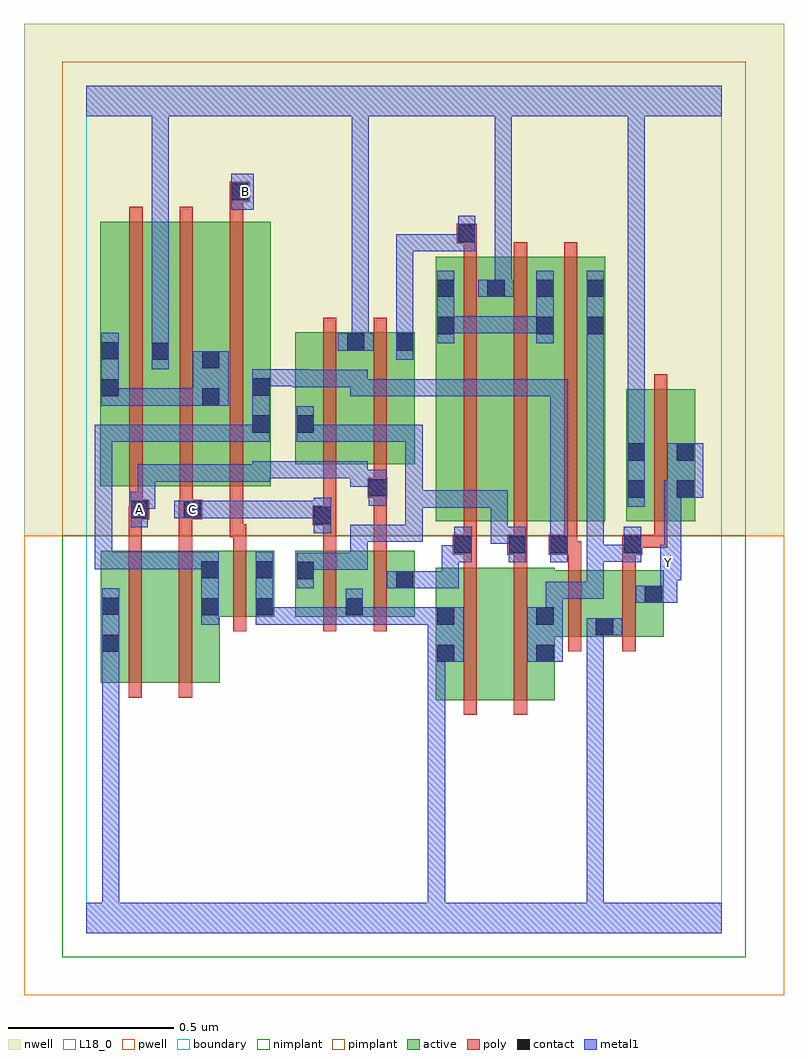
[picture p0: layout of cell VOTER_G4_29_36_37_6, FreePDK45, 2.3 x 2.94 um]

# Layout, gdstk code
import gdstk
lib = gdstk.Library(unit=1e-6, precision=1e-09)
def R(c, l, rs):  # rectangles x0, y0, x1, y1
    for r in rs: c.add(gdstk.rectangle(r[:2], r[2:], *l))
def A(c, l, x, y, w, h, nx, ny, dx, dy):  # array of equal rectangles
    R(c, l, [(x+i*dx, y+j*dy, x+i*dx+w, y+j*dy+h) for i in range(nx) for j in range(ny)])
active = (1, 0)
pwell = (2, 0)
nwell = (3, 0)
nimplant = (4, 0)
pimplant = (5, 0)
poly = (9, 0)
contact = (10, 0)
metal1 = (11, 0)
L18_0 = (18, 0)
boundary = (235, 0)

voter_g4_29_36_37_6 = lib.new_cell('VOTER_G4_29_36_37_6')
A(voter_g4_29_36_37_6, active, 0.042, 1.35, 0.212, 0.8, 3, 1, 0.152, 0)
R(voter_g4_29_36_37_6, active, [(1.056,0.704,1.236,1.104), (1.056,0.704,1.116,1.104), (1.236,0.704,1.416,1.104), (0.044,0.756,0.224,1.156), (0.044,0.756,0.104,1.156), (0.224,0.756,0.404,1.156), (0.344,0.756,0.404,1.156), (1.356,0.816,1.416,1.096), (1.356,0.896,1.596,1.096), (1.536,0.896,1.744,1.096), (1.536,0.896,1.596,0.956), (1.684,0.896,1.744,1.096), (0.344,0.956,0.568,1.156), (0.508,0.956,0.568,1.156), (0.632,0.956,0.692,1.156), (0.632,0.956,0.84,1.156), (0.78,0.956,0.84,1.016), (0.78,0.956,0.992,1.156), (0.932,0.956,0.992,1.156), (1.056,1.244,1.116,2.044), (1.056,1.244,1.268,2.044), (1.208,1.244,1.416,2.044), (1.356,1.244,1.568,2.044), (1.508,1.244,1.568,2.044), (1.632,1.244,1.692,1.644), (1.632,1.244,1.84,1.644), (1.78,1.244,1.84,1.644), (0.042,1.35,0.102,2.044), (0.498,1.35,0.558,2.044), (0.632,1.416,0.844,1.816), (0.632,1.416,0.692,1.644), (0.784,1.416,0.992,1.816), (0.932,1.416,0.992,1.816), (0.346,1.5,0.406,2.15), (0.784,1.508,0.844,1.816), (1.208,1.628,1.268,2.044), (0.194,1.686,0.254,2.044), (1.356,1.686,1.416,2.044)])
R(voter_g4_29_36_37_6, pwell, [(-0.188,-0.188,2.108,1.2)])
R(voter_g4_29_36_37_6, nwell, [(-0.188,1.2,2.108,2.748)])
R(voter_g4_29_36_37_6, nimplant, [(-0.072,-0.072,1.992,1.2)])
R(voter_g4_29_36_37_6, pimplant, [(-0.072,1.2,1.992,2.632)])
A(voter_g4_29_36_37_6, poly, 1.14, 1.164, 0.04, 0.076, 3, 1, 0.152, 0)
A(voter_g4_29_36_37_6, poly, 1.14, 1.2, 0.04, 0.888, 3, 1, 0.152, 0)
A(voter_g4_29_36_37_6, poly, 0.13, 1.306, 0.04, 0.888, 3, 1, 0.152, 0)
R(voter_g4_29_36_37_6, poly, [(1.14,0.66,1.18,1.148), (1.292,0.66,1.332,1.148), (0.128,0.712,0.168,1.2), (0.28,0.712,0.32,1.2), (1.456,0.852,1.496,1.14), (1.62,0.852,1.66,1.14), (0.444,0.912,0.484,1.2), (0.716,0.912,0.756,1.2), (0.868,0.912,0.908,1.2), (1.456,1.1,1.496,1.184), (1.62,1.1,1.66,1.184), (1.14,1.108,1.18,1.184), (1.292,1.108,1.332,1.184), (1.108,1.144,1.18,1.204), (1.272,1.144,1.332,1.204), (1.292,1.144,1.332,1.184), (1.292,1.144,1.332,1.184), (1.398,1.144,1.484,1.204), (1.444,1.144,1.484,1.184), (1.444,1.144,1.496,1.184), (1.62,1.144,1.68,1.204), (0.128,1.16,0.168,1.29), (0.28,1.16,0.32,1.29), (0.444,1.16,0.484,1.236), (0.716,1.16,0.756,1.272), (0.868,1.16,0.908,1.356), (1.14,1.164,1.18,1.204), (1.14,1.164,1.18,1.204), (1.64,1.164,1.68,1.204), (1.64,1.164,1.756,1.204), (1.716,1.164,1.756,1.24), (0.434,1.196,0.474,1.346), (0.434,1.196,0.484,1.236), (0.444,1.196,0.484,1.236), (0.444,1.196,0.484,1.236), (1.716,1.2,1.756,1.688), (0.684,1.232,0.756,1.292), (0.128,1.25,0.17,1.29), (0.13,1.25,0.17,1.29), (0.13,1.25,0.19,1.31), (0.28,1.25,0.35,1.31), (0.716,1.252,0.756,1.292), (0.716,1.252,0.756,1.292), (0.716,1.252,0.756,1.412), (0.13,1.27,0.17,1.346), (0.282,1.27,0.322,1.346), (0.282,1.27,0.322,1.31), (0.282,1.27,0.322,1.31), (0.85,1.316,0.91,1.376), (0.868,1.316,0.908,1.356), (0.868,1.316,0.908,1.356), (0.868,1.336,0.908,1.412), (0.716,1.372,0.756,1.86), (0.868,1.372,0.908,1.86), (1.14,2.048,1.18,2.124), (1.12,2.084,1.18,2.144), (0.434,2.154,0.474,2.25), (0.434,2.21,0.494,2.27)])
R(voter_g4_29_36_37_6, contact, [(1.06,0.82,1.112,0.872), (1.36,0.82,1.412,0.872), (0.048,0.85,0.1,0.902), (1.54,0.9,1.592,0.952), (1.06,0.932,1.112,0.984), (1.36,0.932,1.412,0.984), (0.348,0.96,0.4,1.012), (0.512,0.96,0.564,1.012), (0.784,0.96,0.836,1.012), (0.048,0.962,0.1,1.014), (1.688,0.998,1.74,1.05), (0.936,1.042,0.988,1.094), (0.636,1.07,0.688,1.122), (0.348,1.072,0.4,1.124), (0.512,1.072,0.564,1.124), (1.112,1.148,1.164,1.2), (1.276,1.148,1.328,1.2), (1.402,1.148,1.454,1.2), (1.624,1.148,1.676,1.2), (0.688,1.236,0.74,1.288), (0.134,1.254,0.186,1.306), (0.294,1.254,0.346,1.306), (1.636,1.316,1.688,1.368), (1.784,1.316,1.836,1.368), (0.854,1.32,0.906,1.372), (1.636,1.428,1.688,1.48), (1.784,1.428,1.836,1.48), (0.502,1.512,0.554,1.564), (0.636,1.512,0.688,1.564), (0.35,1.594,0.402,1.646), (0.046,1.622,0.098,1.674), (0.502,1.624,0.554,1.676), (0.35,1.706,0.402,1.758), (0.198,1.732,0.25,1.784), (0.046,1.734,0.098,1.786), (0.788,1.76,0.84,1.812), (0.936,1.76,0.988,1.812), (1.06,1.81,1.112,1.862), (1.36,1.81,1.412,1.862), (1.512,1.81,1.564,1.862), (1.06,1.922,1.112,1.974), (1.212,1.922,1.264,1.974), (1.36,1.922,1.412,1.974), (1.512,1.922,1.564,1.974), (1.124,2.088,1.176,2.14), (0.438,2.214,0.49,2.266)])
R(voter_g4_29_36_37_6, metal1, [(0,0,1.92,0.092), (0.048,0.04,0.1,0.092), (0.048,0.04,0.1,0.092), (0.048,0.04,0.1,0.092), (0.048,0.04,0.1,0.092), (0.048,0.04,0.1,0.092), (0.048,0.04,0.1,0.092), (0.048,0.04,0.1,0.092), (0.048,0.04,0.1,0.092), (0.048,0.04,0.1,0.874), (1.032,0.04,1.084,0.092), (1.032,0.04,1.084,0.092), (1.032,0.04,1.084,0.092), (1.032,0.04,1.084,0.092), (1.032,0.04,1.084,0.092), (1.032,0.04,1.084,0.092), (1.032,0.04,1.084,0.092), (1.032,0.04,1.084,0.092), (1.032,0.04,1.084,0.092), (1.032,0.04,1.084,0.092), (1.032,0.04,1.084,0.092), (1.032,0.04,1.084,0.092), (1.032,0.04,1.084,0.872), (1.512,0.04,1.564,0.092), (1.512,0.04,1.564,0.092), (1.512,0.04,1.564,0.092), (1.512,0.04,1.564,0.092), (1.512,0.04,1.564,0.092), (1.512,0.04,1.564,0.092), (1.512,0.04,1.564,0.092), (1.512,0.04,1.564,0.092), (1.512,0.04,1.564,0.092), (1.512,0.04,1.564,0.092), (1.512,0.04,1.564,0.092), (1.512,0.04,1.564,0.092), (1.512,0.04,1.564,0.092), (1.512,0.04,1.564,0.092), (1.512,0.04,1.564,0.092), (1.512,0.04,1.564,0.092), (1.512,0.04,1.564,0.952), (1.032,0.82,1.14,0.984), (1.332,0.82,1.44,0.984), (0.048,0.822,0.1,0.874), (0.048,0.822,0.1,0.874), (0.048,0.822,0.1,0.874), (0.048,0.822,0.1,0.874), (0.048,0.822,0.1,1.042), (1.512,0.9,1.62,0.952), (0.348,0.932,0.4,1.152), (0.512,0.932,0.564,1.152), (0.512,0.932,0.674,0.984), (0.622,0.932,0.674,0.984), (0.622,0.932,0.674,0.984), (0.622,0.932,0.674,0.984), (0.622,0.932,0.836,0.984), (0.784,0.932,0.836,1.04), (0.784,0.932,0.974,0.984), (0.922,0.932,0.974,0.984), (0.922,0.932,0.974,0.984), (0.922,0.932,0.974,0.984), (0.922,0.932,0.974,0.984), (0.922,0.932,0.974,0.984), (0.922,0.932,0.974,0.984), (0.922,0.932,0.974,0.984), (0.922,0.932,1.084,0.984), (1.388,0.932,1.44,1.062), (1.66,0.998,1.786,1.05), (1.734,0.998,1.786,1.118), (1.388,1.01,1.442,1.062), (1.39,1.01,1.442,1.062), (1.39,1.01,1.442,1.062), (1.39,1.01,1.564,1.062), (1.512,1.01,1.564,1.174), (0.636,1.042,0.688,1.15), (0.908,1.042,1.016,1.094), (0.964,1.042,1.126,1.094), (1.074,1.042,1.126,1.094), (1.074,1.042,1.126,1.172), (1.734,1.066,1.798,1.174), (0.636,1.098,0.688,1.15), (0.636,1.098,0.688,1.15), (0.636,1.098,0.85,1.15), (0.798,1.098,0.85,1.15), (0.798,1.098,0.85,1.234), (0.026,1.1,0.078,1.152), (0.026,1.1,0.078,1.152), (0.026,1.1,0.078,1.152), (0.026,1.1,0.078,1.152), (0.026,1.1,0.078,1.152), (0.026,1.1,0.208,1.152), (0.026,1.1,0.078,1.536), (0.156,1.1,0.208,1.152), (0.156,1.1,0.296,1.152), (0.244,1.1,0.296,1.152), (0.244,1.1,0.4,1.152), (1.074,1.12,1.126,1.172), (1.074,1.12,1.164,1.172), (1.112,1.12,1.164,1.228), (1.276,1.12,1.328,1.228), (1.402,1.12,1.454,1.228), (1.624,1.12,1.676,1.228), (1.512,1.122,1.564,1.174), (1.512,1.122,1.564,1.174), (1.512,1.122,1.564,1.174), (1.512,1.122,1.564,1.174), (1.512,1.122,1.676,1.174), (1.512,1.122,1.564,1.834), (1.746,1.122,1.798,1.368), (1.222,1.176,1.328,1.228), (1.222,1.176,1.274,1.338), (1.402,1.176,1.454,1.228), (1.402,1.176,1.454,1.228), (1.402,1.176,1.454,1.674), (0.798,1.182,0.85,1.234), (0.798,1.182,0.85,1.234), (0.798,1.182,0.85,1.234), (0.798,1.182,1.016,1.234), (0.964,1.182,1.016,1.234), (0.964,1.182,1.016,1.338), (0.688,1.208,0.74,1.316), (0.134,1.226,0.186,1.334), (0.266,1.254,0.374,1.306), (0.322,1.254,0.374,1.306), (0.322,1.254,0.374,1.306), (0.322,1.254,0.554,1.306), (0.502,1.254,0.554,1.306), (0.502,1.254,0.554,1.306), (0.502,1.254,0.554,1.306), (0.502,1.254,0.664,1.306), (0.612,1.254,0.664,1.306), (0.612,1.254,0.74,1.306), (0.134,1.282,0.208,1.334), (0.156,1.282,0.208,1.416), (0.964,1.286,1.016,1.338), (0.964,1.286,1.126,1.338), (0.964,1.286,1.016,1.536), (1.074,1.286,1.126,1.338), (1.074,1.286,1.126,1.338), (1.074,1.286,1.126,1.338), (1.074,1.286,1.274,1.338), (1.636,1.288,1.688,1.508), (0.854,1.292,0.906,1.4), (1.746,1.316,1.808,1.368), (1.756,1.316,1.808,1.368), (1.756,1.316,1.864,1.48), (0.798,1.348,0.906,1.4), (0.798,1.348,0.85,1.426), (0.156,1.364,0.36,1.416), (0.308,1.364,0.36,1.416), (0.308,1.364,0.36,1.416), (0.308,1.364,0.36,1.416), (0.308,1.364,0.554,1.416), (0.502,1.364,0.554,1.426), (0.502,1.374,0.554,1.426), (0.502,1.374,0.554,1.426), (0.502,1.374,0.674,1.426), (0.622,1.374,0.674,1.426), (0.622,1.374,0.674,1.426), (0.622,1.374,0.674,1.426), (0.622,1.374,0.85,1.426), (1.636,1.456,1.688,1.508), (1.636,1.456,1.688,1.508), (1.636,1.456,1.688,1.508), (1.636,1.456,1.688,1.508), (1.636,1.456,1.688,2.52), (0.026,1.484,0.078,1.536), (0.026,1.484,0.078,1.536), (0.026,1.484,0.078,1.536), (0.026,1.484,0.078,1.536), (0.026,1.484,0.078,1.536), (0.026,1.484,0.25,1.536), (0.198,1.484,0.25,1.536), (0.198,1.484,0.36,1.536), (0.308,1.484,0.36,1.536), (0.308,1.484,0.36,1.536), (0.308,1.484,0.36,1.536), (0.308,1.484,0.554,1.536), (0.502,1.484,0.554,1.536), (0.502,1.484,0.554,1.536), (0.502,1.484,0.554,1.704), (0.636,1.484,0.688,1.536), (0.636,1.484,0.688,1.536), (0.636,1.484,0.688,1.592), (0.636,1.484,0.85,1.536), (0.798,1.484,0.85,1.536), (0.798,1.484,0.85,1.536), (0.798,1.484,0.85,1.536), (0.798,1.484,1.016,1.536), (0.964,1.484,1.016,1.536), (0.046,1.594,0.098,1.646), (0.046,1.594,0.098,1.646), (0.046,1.594,0.098,1.814), (0.046,1.594,0.208,1.646), (0.156,1.594,0.208,1.646), (0.156,1.594,0.374,1.646), (0.322,1.594,0.374,1.646), (0.322,1.594,0.374,1.646), (0.322,1.594,0.43,1.758), (0.798,1.622,0.96,1.674), (0.798,1.622,0.85,1.702), (0.908,1.622,0.96,1.674), (0.908,1.622,0.96,1.674), (0.908,1.622,0.96,1.674), (0.908,1.622,1.126,1.674), (1.074,1.622,1.126,1.674), (1.074,1.622,1.126,1.674), (1.074,1.622,1.126,1.674), (1.074,1.622,1.126,1.674), (1.074,1.622,1.126,1.674), (1.074,1.622,1.236,1.674), (1.184,1.622,1.236,1.674), (1.184,1.622,1.332,1.674), (1.28,1.622,1.332,1.674), (1.28,1.622,1.454,1.674), (1.402,1.622,1.454,1.674), (0.622,1.65,0.85,1.702), (0.622,1.65,0.674,1.704), (0.502,1.652,0.554,1.704), (0.502,1.652,0.554,1.704), (0.502,1.652,0.674,1.704), (0.622,1.652,0.674,1.704), (0.622,1.652,0.674,1.704), (0.198,1.704,0.25,1.812), (0.936,1.732,0.988,1.84), (0.198,1.76,0.25,1.812), (0.198,1.76,0.25,1.812), (0.198,1.76,0.25,1.812), (0.198,1.76,0.25,1.812), (0.198,1.76,0.25,1.812), (0.198,1.76,0.25,1.812), (0.198,1.76,0.25,1.812), (0.198,1.76,0.25,1.812), (0.198,1.76,0.25,2.52), (0.76,1.76,0.868,1.812), (0.802,1.76,0.854,1.812), (0.802,1.76,0.854,1.812), (0.802,1.76,0.854,1.812), (0.802,1.76,0.854,1.812), (0.802,1.76,0.854,2.52), (1.06,1.782,1.112,2.002), (1.36,1.782,1.412,2.002), (1.512,1.782,1.564,2.002), (0.936,1.788,0.988,1.84), (0.936,1.788,0.988,1.84), (0.936,1.788,0.988,1.84), (0.936,1.788,0.988,1.84), (0.936,1.788,0.988,1.84), (0.936,1.788,0.988,1.84), (0.936,1.788,0.988,1.84), (0.936,1.788,0.988,1.84), (0.936,1.788,0.988,2.112), (1.06,1.812,1.218,1.864), (1.166,1.812,1.218,1.864), (1.166,1.812,1.24,1.864), (1.188,1.812,1.24,1.864), (1.188,1.812,1.332,1.864), (1.28,1.812,1.332,1.864), (1.28,1.812,1.412,1.864), (1.184,1.922,1.292,1.974), (1.234,1.922,1.286,1.974), (1.234,1.922,1.286,1.974), (1.234,1.922,1.286,2.52), (0.936,2.06,0.988,2.112), (0.936,2.06,1.084,2.112), (1.032,2.06,1.084,2.112), (1.032,2.06,1.176,2.112), (1.124,2.06,1.176,2.168), (0.438,2.186,0.506,2.294), (0,2.468,1.92,2.56), (0.802,2.468,0.854,2.52), (0.802,2.468,0.854,2.52), (0.802,2.468,0.854,2.52), (0.802,2.468,0.854,2.52), (0.802,2.468,0.854,2.52), (0.802,2.468,0.854,2.52), (0.802,2.468,0.854,2.52), (0.802,2.468,0.854,2.52), (0.802,2.468,0.854,2.52), (0.802,2.468,0.854,2.52), (0.802,2.468,0.854,2.52), (0.802,2.468,0.854,2.52), (1.234,2.468,1.286,2.52), (1.234,2.468,1.286,2.52), (1.234,2.468,1.286,2.52), (1.234,2.468,1.286,2.52), (1.234,2.468,1.286,2.52), (1.234,2.468,1.286,2.52), (1.636,2.468,1.688,2.52), (1.636,2.468,1.688,2.52), (1.636,2.468,1.688,2.52), (1.636,2.468,1.688,2.52), (1.636,2.468,1.688,2.52), (1.636,2.468,1.688,2.52), (1.636,2.468,1.688,2.52), (1.636,2.468,1.688,2.52), (1.636,2.468,1.688,2.52), (1.636,2.468,1.688,2.52), (1.636,2.468,1.688,2.52), (1.636,2.468,1.688,2.52)])
R(voter_g4_29_36_37_6, L18_0, [(0,0,1.92,0.092), (0.048,0.04,0.1,0.092), (0.048,0.04,0.1,0.092), (0.048,0.04,0.1,0.092), (0.048,0.04,0.1,0.092), (0.048,0.04,0.1,0.092), (0.048,0.04,0.1,0.092), (0.048,0.04,0.1,0.092), (0.048,0.04,0.1,0.092), (0.048,0.04,0.1,0.874), (1.032,0.04,1.084,0.092), (1.032,0.04,1.084,0.092), (1.032,0.04,1.084,0.092), (1.032,0.04,1.084,0.092), (1.032,0.04,1.084,0.092), (1.032,0.04,1.084,0.092), (1.032,0.04,1.084,0.092), (1.032,0.04,1.084,0.092), (1.032,0.04,1.084,0.092), (1.032,0.04,1.084,0.092), (1.032,0.04,1.084,0.092), (1.032,0.04,1.084,0.092), (1.032,0.04,1.084,0.872), (1.512,0.04,1.564,0.092), (1.512,0.04,1.564,0.092), (1.512,0.04,1.564,0.092), (1.512,0.04,1.564,0.092), (1.512,0.04,1.564,0.092), (1.512,0.04,1.564,0.092), (1.512,0.04,1.564,0.092), (1.512,0.04,1.564,0.092), (1.512,0.04,1.564,0.092), (1.512,0.04,1.564,0.092), (1.512,0.04,1.564,0.092), (1.512,0.04,1.564,0.092), (1.512,0.04,1.564,0.092), (1.512,0.04,1.564,0.092), (1.512,0.04,1.564,0.092), (1.512,0.04,1.564,0.092), (1.512,0.04,1.564,0.952), (1.032,0.82,1.14,0.984), (0.048,0.822,0.1,0.874), (0.048,0.822,0.1,0.874), (0.048,0.822,0.1,0.874), (0.048,0.822,0.1,0.874), (0.048,0.822,0.1,1.042), (1.512,0.9,1.62,0.952), (0.512,0.932,0.564,1.152), (0.512,0.932,0.674,0.984), (0.622,0.932,0.674,0.984), (0.622,0.932,0.674,0.984), (0.622,0.932,0.674,0.984), (0.622,0.932,0.836,0.984), (0.784,0.932,0.836,1.04), (0.784,0.932,0.974,0.984), (0.922,0.932,0.974,0.984), (0.922,0.932,0.974,0.984), (0.922,0.932,0.974,0.984), (0.922,0.932,0.974,0.984), (0.922,0.932,0.974,0.984), (0.922,0.932,0.974,0.984), (0.922,0.932,0.974,0.984), (0.922,0.932,1.084,0.984), (1.66,0.998,1.786,1.05), (1.734,0.998,1.786,1.118), (1.734,1.066,1.798,1.174), (1.734,1.094,1.786,1.146), (1.746,1.122,1.798,1.368), (0.688,1.208,0.74,1.316), (0.134,1.226,0.186,1.334), (0.134,1.254,0.186,1.306), (0.266,1.254,0.374,1.306), (0.294,1.254,0.346,1.306), (0.322,1.254,0.374,1.306), (0.322,1.254,0.374,1.306), (0.322,1.254,0.554,1.306), (0.502,1.254,0.554,1.306), (0.502,1.254,0.554,1.306), (0.502,1.254,0.554,1.306), (0.502,1.254,0.664,1.306), (0.612,1.254,0.664,1.306), (0.612,1.254,0.74,1.306), (0.134,1.282,0.208,1.334), (0.156,1.282,0.208,1.416), (1.636,1.288,1.688,1.508), (0.854,1.292,0.906,1.4), (1.746,1.316,1.808,1.368), (1.756,1.316,1.808,1.368), (1.756,1.316,1.864,1.48), (0.798,1.348,0.906,1.4), (0.798,1.348,0.85,1.426), (0.156,1.364,0.36,1.416), (0.308,1.364,0.36,1.416), (0.308,1.364,0.36,1.416), (0.308,1.364,0.36,1.416), (0.308,1.364,0.554,1.416), (0.502,1.364,0.554,1.426), (0.502,1.374,0.554,1.426), (0.502,1.374,0.554,1.426), (0.502,1.374,0.674,1.426), (0.622,1.374,0.674,1.426), (0.622,1.374,0.674,1.426), (0.622,1.374,0.674,1.426), (0.622,1.374,0.85,1.426), (1.636,1.456,1.688,1.508), (1.636,1.456,1.688,1.508), (1.636,1.456,1.688,1.508), (1.636,1.456,1.688,1.508), (1.636,1.456,1.688,2.52), (0.198,1.704,0.25,1.812), (0.198,1.76,0.25,1.812), (0.198,1.76,0.25,1.812), (0.198,1.76,0.25,1.812), (0.198,1.76,0.25,1.812), (0.198,1.76,0.25,1.812), (0.198,1.76,0.25,1.812), (0.198,1.76,0.25,1.812), (0.198,1.76,0.25,1.812), (0.198,1.76,0.25,2.52), (0.76,1.76,0.868,1.812), (0.802,1.76,0.854,1.812), (0.802,1.76,0.854,1.812), (0.802,1.76,0.854,1.812), (0.802,1.76,0.854,1.812), (0.802,1.76,0.854,2.52), (1.184,1.922,1.292,1.974), (1.234,1.922,1.286,1.974), (1.234,1.922,1.286,1.974), (1.234,1.922,1.286,2.52), (0.438,2.186,0.506,2.294), (0.454,2.214,0.506,2.266), (0,2.468,1.92,2.56), (0.802,2.468,0.854,2.52), (0.802,2.468,0.854,2.52), (0.802,2.468,0.854,2.52), (0.802,2.468,0.854,2.52), (0.802,2.468,0.854,2.52), (0.802,2.468,0.854,2.52), (0.802,2.468,0.854,2.52), (0.802,2.468,0.854,2.52), (0.802,2.468,0.854,2.52), (0.802,2.468,0.854,2.52), (0.802,2.468,0.854,2.52), (0.802,2.468,0.854,2.52), (1.234,2.468,1.286,2.52), (1.234,2.468,1.286,2.52), (1.234,2.468,1.286,2.52), (1.234,2.468,1.286,2.52), (1.234,2.468,1.286,2.52), (1.234,2.468,1.286,2.52), (1.636,2.468,1.688,2.52), (1.636,2.468,1.688,2.52), (1.636,2.468,1.688,2.52), (1.636,2.468,1.688,2.52), (1.636,2.468,1.688,2.52), (1.636,2.468,1.688,2.52), (1.636,2.468,1.688,2.52), (1.636,2.468,1.688,2.52), (1.636,2.468,1.688,2.52), (1.636,2.468,1.688,2.52), (1.636,2.468,1.688,2.52), (1.636,2.468,1.688,2.52)])
R(voter_g4_29_36_37_6, boundary, [(0,0,1.92,2.56)])
voter_g4_29_36_37_6.add(gdstk.Label('A', (0.16,1.28), layer=11, texttype=0))
voter_g4_29_36_37_6.add(gdstk.Label('B', (0.48,2.24), layer=11, texttype=0))
voter_g4_29_36_37_6.add(gdstk.Label('C', (0.32,1.28), layer=11, texttype=0))
voter_g4_29_36_37_6.add(gdstk.Label('Y', (1.76,1.12), layer=11, texttype=0))

lib.write_gds('VOTER_G4_29_36_37_6.gds')
